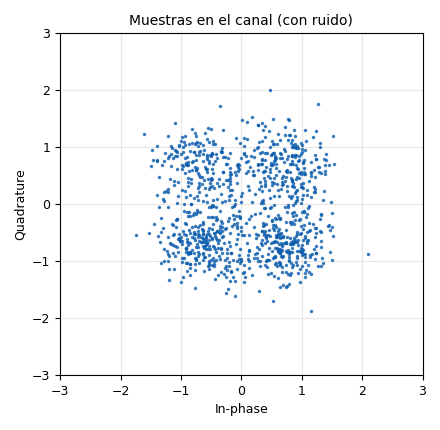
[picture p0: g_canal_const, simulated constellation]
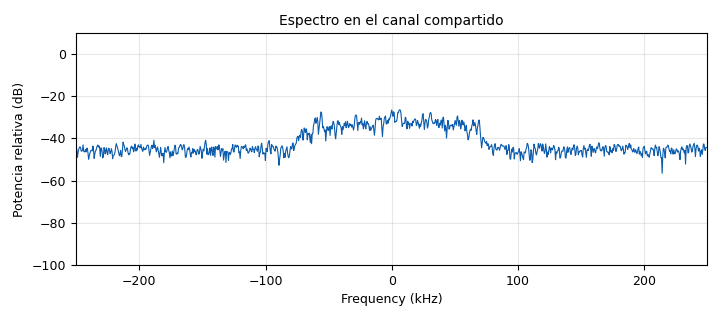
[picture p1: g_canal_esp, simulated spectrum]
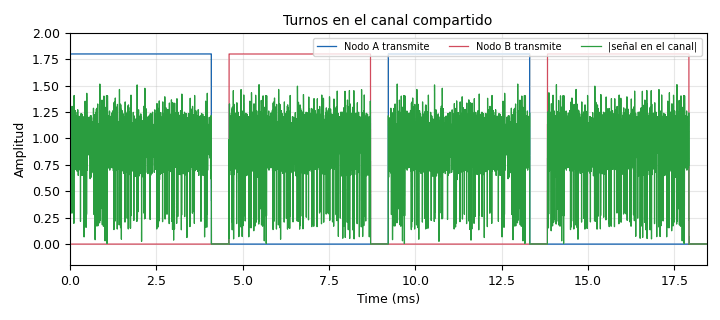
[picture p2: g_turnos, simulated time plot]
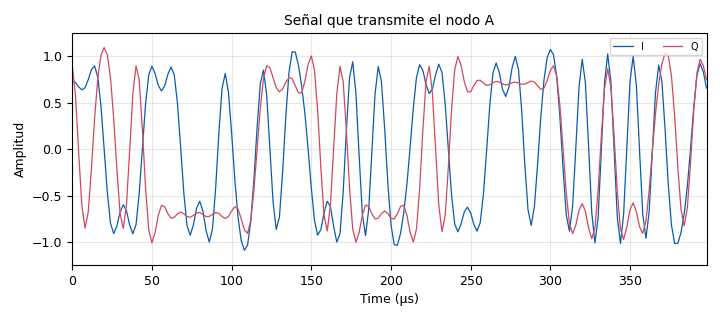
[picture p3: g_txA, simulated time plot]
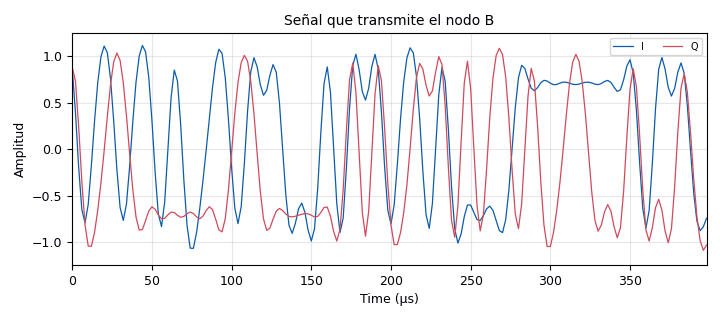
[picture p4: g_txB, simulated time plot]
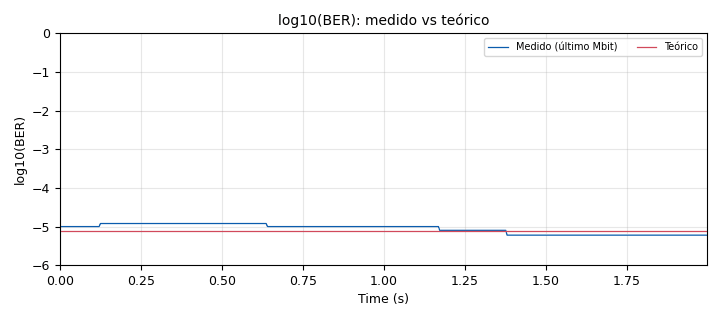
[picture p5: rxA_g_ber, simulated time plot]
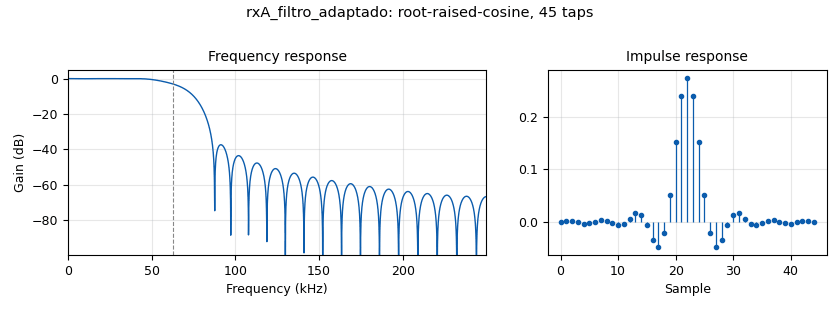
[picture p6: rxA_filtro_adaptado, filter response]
options:
  parameters:
    author: Juan Gerez
    description: Dos nodos que se turnan un canal compartido (TDD) con tramas (preámbulo + longitud + CRC-32), 4-QAM diferencial y medición de BER; solo bloques estándar de GNU Radio
    generate_options: qt_gui
    id: halfduplex_4qam
    output_language: python
    title: Enlace half-duplex 4-QAM (TDD) con tramas y BER (bloques estándar)
  states: {}

blocks:
- name: L_A
  id: variable
  parameters:
    comment: Bytes de payload del nodo A
    value: len(payload_A)
  states: {}
- name: L_B
  id: variable
  parameters:
    comment: Bytes de payload del nodo B
    value: len(payload_B)
  states: {}
- name: ber_A_log
  id: variable_function_probe
  parameters:
    block_id: rxA_sonda_ber
    function_name: level
    poll_rate: '4'
    value: '0'
  states: {}
- name: ber_B_log
  id: variable_function_probe
  parameters:
    block_id: rxB_sonda_ber
    function_name: level
    poll_rate: '4'
    value: '0'
  states: {}
- name: ber_teo
  id: variable
  parameters:
    comment: '4-QAM con codificación diferencial: 2p(1-p)'
    value: 2 * p_qpsk * (1 - p_qpsk)
  states: {}
- name: cfo_hz
  id: variable_qtgui_range
  parameters:
    gui_hint: 0,4,1,2
    label: Desvío entre osciladores A-B [Hz]
    min_len: '150'
    start: '-1000'
    step: '10'
    stop: '1000'
    value: '0'
  states: {}
- name: costas_bw
  id: variable_qtgui_range
  parameters:
    gui_hint: 1,0,1,1
    label: BW lazo de Costas
    min_len: '100'
    start: '0.001'
    step: '0.001'
    stop: '0.1'
    value: '0.005'
    widget: counter
  states: {}
- name: ebn0_db
  id: variable_qtgui_range
  parameters:
    gui_hint: 0,0,1,2
    label: Eb/N0 [dB]
    min_len: '150'
    start: '0'
    step: '0.5'
    stop: '15'
    value: '10'
  states: {}
- name: excess_bw
  id: variable
  parameters:
    comment: Factor de roll-off del filtro RRC
    value: '0.35'
  states: {}
- name: fase_deg
  id: variable_qtgui_range
  parameters:
    gui_hint: 0,2,1,2
    label: Fase del canal [°]
    min_len: '150'
    start: '-180'
    step: '1'
    stop: '180'
    value: '0'
  states: {}
- name: formato_trama
  id: variable_header_format_default
  parameters:
    access_code: '0'
    bps: '1'
    threshold: '0'
  states: {}
- name: guarda
  id: variable
  parameters:
    comment: Muestras de silencio entre turnos (nadie transmite)
    value: '256'
  states: {}
- name: lbl_A
  id: variable_qtgui_label
  parameters:
    formatter: 'lambda x: ''%.2e'' % x'
    gui_hint: 1,3,1,1
    label: 'BER nodo A (acum.): '
    type: real
    value: 10**ber_A_log
  states: {}
- name: lbl_B
  id: variable_qtgui_label
  parameters:
    formatter: 'lambda x: ''%.2e'' % x'
    gui_hint: 1,4,1,1
    label: 'BER nodo B (acum.): '
    type: real
    value: 10**ber_B_log
  states: {}
- name: lbl_ratio
  id: variable_qtgui_label
  parameters:
    formatter: 'lambda x: ''%.2f | %.2f'' % x'
    gui_hint: 1,5,1,1
    label: 'Medido / teórico (A | B): '
    type: raw
    value: (10**ber_A_log / ber_teo, 10**ber_B_log / ber_teo)
  states: {}
- name: lbl_teo
  id: variable_qtgui_label
  parameters:
    formatter: 'lambda x: ''%.2e'' % x'
    gui_hint: 1,2,1,1
    label: 'BER teórico: '
    type: real
    value: ber_teo
  states: {}
- name: mensaje_A
  id: variable
  parameters:
    comment: Texto que transmite el nodo A
    value: '"Hola, soy el nodo A. Este mensaje viaja por el canal compartido en mi ranura de tiempo (TDD)."'
  states: {}
- name: mensaje_B
  id: variable
  parameters:
    comment: Texto que transmite el nodo B
    value: '"Hola, soy el nodo B. Respondo en la otra ranura: nunca transmitimos los dos al mismo tiempo!!"'
  states: {}
- name: p_qpsk
  id: variable
  parameters:
    comment: 'Q(raiz(2 Eb/N0)): 4-QAM coherente'
    value: 0.5 * math.erfc(math.sqrt(10**(ebn0_db / 10)))
  states: {}
- name: payload_A
  id: variable
  parameters:
    value: list(mensaje_A.encode())
  states: {}
- name: payload_B
  id: variable
  parameters:
    value: list(mensaje_B.encode())
  states: {}
- name: qpsk
  id: variable_constellation_rect
  parameters:
    const_points: '[-0.707-0.707j, 0.707-0.707j, +0.707+0.707j, -0.707+0.707j]'
    imag_sect: '2'
    real_sect: '2'
    rot_sym: '4'
    sym_map: '[0, 1, 3, 2]'
    w_imag_sect: '1'
    w_real_sect: '1'
  states: {}
- name: ranura
  id: variable
  parameters:
    comment: Muestras de cada turno de transmisión (múltiplo de sps)
    value: '2048'
  states: {}
- name: ruido
  id: variable
  parameters:
    comment: 'Desvío del ruido complejo: potencia de señal = 1 por muestra, Es/N0 = 2 Eb/N0'
    value: math.sqrt(sps / (2 * 10**(ebn0_db / 10)))
  states: {}
- name: samp_rate
  id: variable
  parameters:
    comment: Frecuencia de muestreo [muestras/s]
    value: '500000'
  states: {}
- name: sps
  id: variable
  parameters:
    comment: Muestras por símbolo
    value: '4'
  states: {}
- name: sync_bw
  id: variable_qtgui_range
  parameters:
    gui_hint: 1,1,1,1
    label: BW sinc. de símbolo
    min_len: '100'
    start: '0.001'
    step: '0.001'
    stop: '0.1'
    value: '0.01'
    widget: counter
  states: {}
- name: umbral
  id: variable
  parameters:
    comment: Bits erróneos tolerados al buscar el preámbulo de 64 bits
    value: '12'
  states: {}
- name: ventana
  id: variable
  parameters:
    comment: Bits de la ventana del BER 'reciente'
    value: '1000000'
  states: {}
- name: acelerador
  id: blocks_throttle2
  parameters:
    samples_per_second: samp_rate
    type: complex
  states: {}
- name: canal_tx_A
  id: virtual_source
  parameters:
    stream_id: tx_A
  states: {}
- name: canal_tx_B
  id: virtual_source
  parameters:
    stream_id: tx_B
  states: {}
- name: conmutador_rx
  id: blocks_stream_demux
  parameters:
    lengths: '[ranura, guarda, ranura, guarda]'
    num_outputs: '4'
    type: complex
  states: {}
- name: fase
  id: blocks_multiply_const_vxx
  parameters:
    const: cmath.exp(1j * math.radians(fase_deg))
    type: complex
  states: {}
- name: g_canal_const
  id: qtgui_const_sink_x
  parameters:
    alpha1: '0.6'
    grid: 'True'
    gui_hint: 'pestanas@0: 1,2,1,1'
    label1: Canal
    legend: 'False'
    name: '"Muestras en el canal (con ruido)"'
    size: '1024'
    type: complex
    xmax: '3'
    xmin: '-3'
    ymax: '3'
    ymin: '-3'
  states: {}
- name: g_canal_esp
  id: qtgui_freq_sink_x
  parameters:
    average: '0.2'
    bw: samp_rate
    fc: '0'
    fftsize: '1024'
    grid: 'True'
    gui_hint: 'pestanas@0: 0,2,1,1'
    label: '"Potencia relativa"'
    label1: Canal
    legend: 'False'
    name: '"Espectro en el canal compartido"'
    type: complex
    ymin: '-100'
  states: {}
- name: g_turnos
  id: qtgui_time_sink_x
  parameters:
    entags: 'False'
    grid: 'True'
    gui_hint: 'pestanas@0: 0,0,1,2'
    label1: Nodo A transmite
    label2: Nodo B transmite
    label3: '|señal en el canal|'
    name: '"Turnos en el canal compartido"'
    nconnections: '3'
    size: 4 * (ranura + guarda)
    srate: samp_rate
    tr_level: '0.9'
    tr_mode: qtgui.TRIG_MODE_NORM
    type: float
    ylabel: Amplitud
    ymax: '2.0'
    ymin: '-0.2'
  states: {}
- name: g_txA
  id: qtgui_time_sink_x
  parameters:
    grid: 'True'
    gui_hint: 'pestanas@0: 1,0,1,1'
    label1: I
    label2: Q
    name: '"Señal que transmite el nodo A"'
    size: '200'
    srate: samp_rate
    type: complex
    ylabel: Amplitud
    ymax: '1.25'
    ymin: '-1.25'
  states: {}
- name: g_txA_src
  id: virtual_source
  parameters:
    stream_id: tx_A
  states: {}
- name: g_txB
  id: qtgui_time_sink_x
  parameters:
    grid: 'True'
    gui_hint: 'pestanas@0: 1,1,1,1'
    label1: I
    label2: Q
    name: '"Señal que transmite el nodo B"'
    size: '200'
    srate: samp_rate
    type: complex
    ylabel: Amplitud
    ymax: '1.25'
    ymin: '-1.25'
  states: {}
- name: g_txB_src
  id: virtual_source
  parameters:
    stream_id: tx_B
  states: {}
- name: guarda_1
  id: blocks_null_sink
  parameters:
    type: complex
  states: {}
- name: guarda_3
  id: blocks_null_sink
  parameters:
    type: complex
  states: {}
- name: imports
  id: import
  parameters:
    imports: import math, cmath
  states: {}
- name: modulo_canal
  id: blocks_complex_to_mag
  parameters: {}
  states: {}
- name: nota_osc
  id: note
  parameters:
    note: 'El desvío de frecuencia (CFO) es la diferencia entre los osciladores de A y B: cada receptor lo ve con signo opuesto (B: +CFO, A: -CFO).'
  states: {}
- name: nota_tdd
  id: note
  parameters:
    note: 'CANAL COMPARTIDO (half-duplex por TDD): Stream Mux arma los turnos [A | guarda | B | guarda]; mientras un nodo no tiene el turno, su transmisor espera. Stream Demux es el conmutador de recepción: las ranuras de A van al receptor de B y las de B al receptor de A (nadie se escucha a sí mismo).'
  states: {}
- name: nota_tx
  id: note
  parameters:
    note: 'TRANSMISORES: cada nodo arma sus tramas (mensaje -> CRC-32 -> preámbulo 64 b + longitud x2) y las modula en 4-QAM diferencial con filtro RRC'
  states: {}
- name: osc_rxA
  id: blocks_rotator_cc
  parameters:
    phase_inc: '-2 * math.pi * cfo_hz / samp_rate'
  states: {}
- name: osc_rxB
  id: blocks_rotator_cc
  parameters:
    phase_inc: 2 * math.pi * cfo_hz / samp_rate
  states: {}
- name: pestanas
  id: qtgui_tab_widget
  parameters:
    gui_hint: 2,0,1,6
    label0: 1. Canal compartido (TDD)
    label1: 2. Nodo A recibe (lo que transmite B)
    label2: 3. Nodo B recibe (lo que transmite A)
    num_tabs: '3'
  states: {}
- name: ruido_awgn
  id: analog_noise_source_x
  parameters:
    amp: ruido
    noise_type: analog.GR_GAUSSIAN
    seed: '0'
    type: complex
  states: {}
- name: rxA_a_bits
  id: blocks_unpack_k_bits_bb
  parameters:
    k: '2'
  states: {}
- name: rxA_a_bytes
  id: blocks_repack_bits_bb
  parameters:
    align_output: 'True'
    endianness: gr.GR_MSB_FIRST
    k: '1'
    l: '8'
    len_tag_key: '"packet_len"'
    minoutbuf: '70000'
  states: {}
- name: rxA_alinear
  id: blocks_tagged_stream_align
  parameters:
    comment: |-
      Descarta lo anterior a la primera trama detectada. 
      Como todas las tramas son iguales, no importa cuál 
      sea la primera que detecte: siempre queda alineada 
      con la referencia.
    lengthtagname: '"inicio_trama"'
    type: byte
  states: {}
- name: rxA_archivo
  id: blocks_file_sink
  parameters:
    file: '"mensajes_recibidos_A.txt"'
    type: byte
    unbuffered: 'True'
  states: {}
- name: rxA_ber_ventana
  id: blocks_moving_average_xx
  parameters:
    comment: Calcula el BER “reciente”.
    length: ventana
    max_iter: '4000'
    scale: 1.0/ventana
    type: float
  states: {}
- name: rxA_cfo_esperado
  id: analog_sig_source_x
  parameters:
    amp: '-cfo_hz'
    freq: '0'
    offset: '0'
    phase: '0'
    samp_rate: samp_rate/sps
    type: float
    waveform: analog.GR_CONST_WAVE
  states: {}
- name: rxA_comparar
  id: blocks_xor_xx
  parameters:
    type: byte
  states: {}
- name: rxA_costas
  id: digital_costas_loop_cc
  parameters:
    order: '4'
    w: costas_bw
  states: {}
- name: rxA_crc
  id: digital_crc32_bb
  parameters:
    check: 'True'
    lengthtagname: '"packet_len"'
    minoutbuf: '70000'
    packed: 'True'
  states: {}
- name: rxA_dec_diferencial
  id: digital_diff_decoder_bb
  parameters:
    coding: digital.DIFF_DIFFERENTIAL
    modulus: '4'
  states: {}
- name: rxA_decisor
  id: digital_constellation_decoder_cb
  parameters:
    constellation: qpsk
  states: {}
- name: rxA_detector_trama
  id: digital_correlate_access_code_xx_ts
  parameters:
    access_code: digital.packet_utils.default_access_code
    minoutbuf: '600000'
    tagname: '"packet_len"'
    threshold: umbral
    type: byte
  states: {}
- name: rxA_entrada
  id: virtual_source
  parameters:
    stream_id: entrada_rx_A
  states: {}
- name: rxA_errores
  id: blocks_char_to_float
  parameters:
    scale: '1'
  states: {}
- name: rxA_filtro_adaptado
  id: filter_fft_rrc_filter
  parameters:
    alpha: excess_bw
    decim: '1'
    gain: '1'
    ntaps: 11*sps
    samp_rate: samp_rate
    sym_rate: samp_rate/sps
    type: ccc
  states: {}
- name: rxA_frec_hz
  id: blocks_multiply_const_vxx
  parameters:
    const: samp_rate / sps / (2 * math.pi)
    type: float
  states: {}
- name: rxA_g_ber
  id: qtgui_time_sink_x
  parameters:
    entags: 'False'
    grid: 'True'
    gui_hint: 'pestanas@1: 1,2,1,1'
    label1: Medido (último Mbit)
    label2: Teórico
    name: '"log10(BER): medido vs teórico"'
    nconnections: '2'
    size: '500'
    srate: samp_rate/sps*2/1000
    type: float
    ylabel: log10(BER)
    ymax: '0'
    ymin: '-6'
  states: {}
- name: rxA_g_bits
  id: qtgui_time_sink_x
  parameters:
    entags: 'False'
    grid: 'True'
    gui_hint: 'pestanas@1: 1,0,1,1'
    label1: RX
    label2: TX (+1,5)
    label3: Errores
    name: '"Bits RX vs TX (+1,5) y errores"'
    nconnections: '3'
    size: '200'
    srate: samp_rate/sps*2
    type: float
    ylabel: Bit
    ymax: '4'
  states: {}
- name: rxA_g_const
  id: qtgui_const_sink_x
  parameters:
    alpha1: '0.6'
    alpha2: '0.6'
    grid: 'True'
    gui_hint: 'pestanas@1: 0,1,1,1'
    label1: Antes
    label2: Después
    name: '"Constelación antes y después de Costas"'
    nconnections: '2'
    size: '1024'
    type: complex
    xmax: '1.5'
    xmin: '-1.5'
    ymax: '1.5'
    ymin: '-1.5'
  states: {}
- name: rxA_g_frec
  id: qtgui_time_sink_x
  parameters:
    entags: 'False'
    grid: 'True'
    gui_hint: 'pestanas@1: 0,2,1,1'
    label1: Costas
    label2: CFO (-Δf)
    name: '"Frecuencia de Costas vs CFO [Hz]"'
    nconnections: '2'
    size: '2000'
    srate: samp_rate/sps
    type: float
    ylabel: Hz
    ymax: '1100'
    ymin: '-1100'
  states: {}
- name: rxA_g_ojo
  id: qtgui_eye_sink_x
  parameters:
    alpha1: '0.5'
    entags: 'False'
    grid: 'True'
    gui_hint: 'pestanas@1: 0,0,1,1'
    label1: Ojo de la componente I (antes de Costas)
    samp_per_symbol: 4*sps
    size: '2048'
    srate: 4*samp_rate
    type: float
    ylabel: '"Amplitud"'
    ymax: '1.5'
    ymin: '-1.5'
  states: {}
- name: rxA_g_payload
  id: qtgui_time_sink_x
  parameters:
    grid: 'True'
    gui_hint: 'pestanas@1: 1,1,1,1'
    label1: Payload + CRC
    legend: 'False'
    name: '"Payload del detector de tramas"'
    size: 2 * 8 * (L_B + 4)
    srate: samp_rate/sps*2
    type: float
    ylabel: Bit
    ymax: '1.5'
    ymin: '-0.5'
  states: {}
- name: rxA_log_ber
  id: blocks_nlog10_ff
  parameters:
    k: '0'
  states: {}
- name: rxA_log_teo
  id: analog_sig_source_x
  parameters:
    amp: math.log10(ber_teo)
    comment: Es la línea teórica del gráfico
    freq: '0'
    offset: '0'
    phase: '0'
    samp_rate: samp_rate/sps*2/1000
    type: float
    waveform: analog.GR_CONST_WAVE
  states: {}
- name: rxA_mapa_gray
  id: digital_map_bb
  parameters:
    map: '[0, 1, 3, 2]'
  states: {}
- name: rxA_marca_preambulo
  id: digital_correlate_access_code_tag_xx
  parameters:
    access_code: digital.packet_utils.default_access_code
    comment: Solo marca dónde termina cada preámbulo; no recorta nada.
    tagname: '"inicio_trama"'
    threshold: umbral
    type: byte
  states: {}
- name: rxA_medidor_ber
  id: fec_ber_bf
  parameters:
    comment: |-
      Cuenta todos los errores desde que arrancó la simulación. 
      Como test_mode está desactivado, los parámetros 
      berminerrors y berlimit no se usan.
    test_mode: 'False'
  states: {}
- name: rxA_nota
  id: note
  parameters:
    note: 'RECEPTOR DEL NODO A (recibe lo que transmite B): filtro adaptado -> sincronismo de símbolo -> Costas -> decisión -> decodificación diferencial -> tramas (CRC-32) y BER'
  states: {}
- name: rxA_ojo_interp
  id: rational_resampler_xxx
  parameters:
    decim: '1'
    interp: '4'
    type: ccc
  states: {}
- name: rxA_ojo_re
  id: blocks_complex_to_real
  parameters: {}
  states: {}
- name: rxA_payload_f
  id: blocks_char_to_float
  parameters:
    scale: '1'
  states: {}
- name: rxA_ref_a_paquetes
  id: blocks_stream_to_tagged_stream
  parameters:
    len_tag_key: '"packet_len"'
    packet_len: L_B
    type: byte
  states: {}
- name: rxA_ref_bit_f
  id: blocks_char_to_float
  parameters:
    scale: '1'
  states: {}
- name: rxA_ref_bits
  id: blocks_unpack_k_bits_bb
  parameters:
    comment: Pasa la trama a bits.
    k: '8'
  states: {}
- name: rxA_ref_bytes
  id: blocks_repack_bits_bb
  parameters:
    endianness: gr.GR_MSB_FIRST
    k: '1'
    l: '8'
  states: {}
- name: rxA_ref_crc
  id: digital_crc32_bb
  parameters:
    check: 'False'
    lengthtagname: '"packet_len"'
    packed: 'True'
  states: {}
- name: rxA_ref_desplazar
  id: blocks_add_const_vxx
  parameters:
    const: '1.5'
    type: float
  states: {}
- name: rxA_ref_encabezado
  id: digital_protocol_formatter_bb
  parameters:
    format: formato_trama
    len_tag_key: '"packet_len"'
  states: {}
- name: rxA_ref_fuente
  id: blocks_vector_source_x
  parameters:
    repeat: 'True'
    type: byte
    vector: payload_B
  states: {}
- name: rxA_ref_saltar_preambulo
  id: blocks_skiphead
  parameters:
    comment: |-
      Descarta el primer preámbulo una sola vez. 
      Así la referencia arranca en el encabezado, en 
      el mismo punto donde el receptor pone su marca
    num_items: '64'
    type: byte
  states: {}
- name: rxA_ref_trama
  id: blocks_tagged_stream_mux
  parameters:
    lengthtagname: '"packet_len"'
    ninputs: '2'
    type: byte
  states: {}
- name: rxA_rx_bit_f
  id: blocks_char_to_float
  parameters:
    scale: '1'
  states: {}
- name: rxA_rx_bytes
  id: blocks_repack_bits_bb
  parameters:
    endianness: gr.GR_MSB_FIRST
    k: '1'
    l: '8'
  states: {}
- name: rxA_sinc_null_1
  id: blocks_null_sink
  parameters:
    type: float
  states: {}
- name: rxA_sinc_null_2
  id: blocks_null_sink
  parameters:
    type: float
  states: {}
- name: rxA_sinc_null_3
  id: blocks_null_sink
  parameters:
    type: float
  states: {}
- name: rxA_sinc_simbolo
  id: digital_symbol_sync_xx
  parameters:
    damping: '1.0'
    loop_bw: sync_bw
    max_dev: '1.5'
    osps: '1'
    resamp_type: digital.IR_MMSE_8TAP
    sps: sps
    ted_gain: '1.0'
    ted_type: digital.TED_SIGNAL_TIMES_SLOPE_ML
    type: cc
  states: {}
- name: rxA_sonda_ber
  id: blocks_probe_signal_x
  parameters:
    comment: |-
      Guarda el último valor. La variable ber_A_log lo 
      lee 4 veces por segundo para mostrarlo en las etiquetas.
    type: float
  states: {}
- name: rxA_submuestreo
  id: blocks_keep_one_in_n
  parameters:
    comment: |-
      Alivia el gráfico. El BER cambia lento, así 
      que no se pierde información.
    n: '1000'
    type: float
  states: {}
- name: rxA_una_de_cien
  id: blocks_keep_m_in_n
  parameters:
    comment: Deja pasar 1 de cada 100 mensajes para que el archivo no crezca sin control.
    m: L_B
    n: 100*L_B
    offset: '0'
    type: byte
  states: {}
- name: rxA_vs_entrada
  id: virtual_sink
  parameters:
    stream_id: entrada_rx_A
  states: {}
- name: rxB_a_bits
  id: blocks_unpack_k_bits_bb
  parameters:
    k: '2'
  states: {}
- name: rxB_a_bytes
  id: blocks_repack_bits_bb
  parameters:
    align_output: 'True'
    endianness: gr.GR_MSB_FIRST
    k: '1'
    l: '8'
    len_tag_key: '"packet_len"'
    minoutbuf: '70000'
  states: {}
- name: rxB_alinear
  id: blocks_tagged_stream_align
  parameters:
    lengthtagname: '"inicio_trama"'
    type: byte
  states: {}
- name: rxB_archivo
  id: blocks_file_sink
  parameters:
    file: '"mensajes_recibidos_B.txt"'
    type: byte
    unbuffered: 'True'
  states: {}
- name: rxB_ber_ventana
  id: blocks_moving_average_xx
  parameters:
    length: ventana
    max_iter: '4000'
    scale: 1.0/ventana
    type: float
  states: {}
- name: rxB_cfo_esperado
  id: analog_sig_source_x
  parameters:
    amp: cfo_hz
    freq: '0'
    offset: '0'
    phase: '0'
    samp_rate: samp_rate/sps
    type: float
    waveform: analog.GR_CONST_WAVE
  states: {}
- name: rxB_comparar
  id: blocks_xor_xx
  parameters:
    type: byte
  states: {}
- name: rxB_costas
  id: digital_costas_loop_cc
  parameters:
    order: '4'
    w: costas_bw
  states: {}
- name: rxB_crc
  id: digital_crc32_bb
  parameters:
    check: 'True'
    lengthtagname: '"packet_len"'
    minoutbuf: '70000'
    packed: 'True'
  states: {}
- name: rxB_dec_diferencial
  id: digital_diff_decoder_bb
  parameters:
    coding: digital.DIFF_DIFFERENTIAL
    modulus: '4'
  states: {}
- name: rxB_decisor
  id: digital_constellation_decoder_cb
  parameters:
    constellation: qpsk
  states: {}
- name: rxB_detector_trama
  id: digital_correlate_access_code_xx_ts
  parameters:
    access_code: digital.packet_utils.default_access_code
    minoutbuf: '600000'
    tagname: '"packet_len"'
    threshold: umbral
    type: byte
  states: {}
- name: rxB_entrada
  id: virtual_source
  parameters:
    stream_id: entrada_rx_B
  states: {}
- name: rxB_errores
  id: blocks_char_to_float
  parameters:
    scale: '1'
  states: {}
- name: rxB_filtro_adaptado
  id: filter_fft_rrc_filter
  parameters:
    alpha: excess_bw
    decim: '1'
    gain: '1'
    ntaps: 11*sps
    samp_rate: samp_rate
    sym_rate: samp_rate/sps
    type: ccc
  states: {}
- name: rxB_frec_hz
  id: blocks_multiply_const_vxx
  parameters:
    const: samp_rate / sps / (2 * math.pi)
    type: float
  states: {}
- name: rxB_g_ber
  id: qtgui_time_sink_x
  parameters:
    entags: 'False'
    grid: 'True'
    gui_hint: 'pestanas@2: 1,2,1,1'
    label1: Medido (último Mbit)
    label2: Teórico
    name: '"log10(BER): medido vs teórico"'
    nconnections: '2'
    size: '500'
    srate: samp_rate/sps*2/1000
    type: float
    ylabel: log10(BER)
    ymax: '0'
    ymin: '-6'
  states: {}
- name: rxB_g_bits
  id: qtgui_time_sink_x
  parameters:
    entags: 'False'
    grid: 'True'
    gui_hint: 'pestanas@2: 1,0,1,1'
    label1: RX
    label2: TX (+1,5)
    label3: Errores
    name: '"Bits RX vs TX (+1,5) y errores"'
    nconnections: '3'
    size: '200'
    srate: samp_rate/sps*2
    type: float
    ylabel: Bit
    ymax: '4'
  states: {}
- name: rxB_g_const
  id: qtgui_const_sink_x
  parameters:
    alpha1: '0.6'
    alpha2: '0.6'
    grid: 'True'
    gui_hint: 'pestanas@2: 0,1,1,1'
    label1: Antes
    label2: Después
    name: '"Constelación antes y después de Costas"'
    nconnections: '2'
    size: '1024'
    type: complex
    xmax: '1.5'
    xmin: '-1.5'
    ymax: '1.5'
    ymin: '-1.5'
  states: {}
- name: rxB_g_frec
  id: qtgui_time_sink_x
  parameters:
    entags: 'False'
    grid: 'True'
    gui_hint: 'pestanas@2: 0,2,1,1'
    label1: Costas
    label2: CFO (+Δf)
    name: '"Frecuencia de Costas vs CFO [Hz]"'
    nconnections: '2'
    size: '2000'
    srate: samp_rate/sps
    type: float
    ylabel: Hz
    ymax: '1100'
    ymin: '-1100'
  states: {}
- name: rxB_g_ojo
  id: qtgui_eye_sink_x
  parameters:
    alpha1: '0.5'
    entags: 'False'
    grid: 'True'
    gui_hint: 'pestanas@2: 0,0,1,1'
    label1: Ojo de la componente I (antes de Costas)
    samp_per_symbol: 4*sps
    size: '2048'
    srate: 4*samp_rate
    type: float
    ylabel: '"Amplitud"'
    ymax: '1.5'
    ymin: '-1.5'
  states: {}
- name: rxB_g_payload
  id: qtgui_time_sink_x
  parameters:
    grid: 'True'
    gui_hint: 'pestanas@2: 1,1,1,1'
    label1: Payload + CRC
    legend: 'False'
    name: '"Payload del detector de tramas"'
    size: 2 * 8 * (L_A + 4)
    srate: samp_rate/sps*2
    type: float
    ylabel: Bit
    ymax: '1.5'
    ymin: '-0.5'
  states: {}
- name: rxB_log_ber
  id: blocks_nlog10_ff
  parameters:
    k: '0'
  states: {}
- name: rxB_log_teo
  id: analog_sig_source_x
  parameters:
    amp: math.log10(ber_teo)
    freq: '0'
    offset: '0'
    phase: '0'
    samp_rate: samp_rate/sps*2/1000
    type: float
    waveform: analog.GR_CONST_WAVE
  states: {}
- name: rxB_mapa_gray
  id: digital_map_bb
  parameters:
    map: '[0, 1, 3, 2]'
  states: {}
- name: rxB_marca_preambulo
  id: digital_correlate_access_code_tag_xx
  parameters:
    access_code: digital.packet_utils.default_access_code
    tagname: '"inicio_trama"'
    threshold: umbral
    type: byte
  states: {}
- name: rxB_medidor_ber
  id: fec_ber_bf
  parameters:
    test_mode: 'False'
  states: {}
- name: rxB_nota
  id: note
  parameters:
    note: 'RECEPTOR DEL NODO B (recibe lo que transmite A): filtro adaptado -> sincronismo de símbolo -> Costas -> decisión -> decodificación diferencial -> tramas (CRC-32) y BER'
  states: {}
- name: rxB_ojo_interp
  id: rational_resampler_xxx
  parameters:
    decim: '1'
    interp: '4'
    type: ccc
  states: {}
- name: rxB_ojo_re
  id: blocks_complex_to_real
  parameters: {}
  states: {}
- name: rxB_payload_f
  id: blocks_char_to_float
  parameters:
    scale: '1'
  states: {}
- name: rxB_ref_a_paquetes
  id: blocks_stream_to_tagged_stream
  parameters:
    len_tag_key: '"packet_len"'
    packet_len: L_A
    type: byte
  states: {}
- name: rxB_ref_bit_f
  id: blocks_char_to_float
  parameters:
    scale: '1'
  states: {}
- name: rxB_ref_bits
  id: blocks_unpack_k_bits_bb
  parameters:
    k: '8'
  states: {}
- name: rxB_ref_bytes
  id: blocks_repack_bits_bb
  parameters:
    endianness: gr.GR_MSB_FIRST
    k: '1'
    l: '8'
  states: {}
- name: rxB_ref_crc
  id: digital_crc32_bb
  parameters:
    check: 'False'
    lengthtagname: '"packet_len"'
    packed: 'True'
  states: {}
- name: rxB_ref_desplazar
  id: blocks_add_const_vxx
  parameters:
    const: '1.5'
    type: float
  states: {}
- name: rxB_ref_encabezado
  id: digital_protocol_formatter_bb
  parameters:
    format: formato_trama
    len_tag_key: '"packet_len"'
  states: {}
- name: rxB_ref_fuente
  id: blocks_vector_source_x
  parameters:
    repeat: 'True'
    type: byte
    vector: payload_A
  states: {}
- name: rxB_ref_saltar_preambulo
  id: blocks_skiphead
  parameters:
    num_items: '64'
    type: byte
  states: {}
- name: rxB_ref_trama
  id: blocks_tagged_stream_mux
  parameters:
    lengthtagname: '"packet_len"'
    ninputs: '2'
    type: byte
  states: {}
- name: rxB_rx_bit_f
  id: blocks_char_to_float
  parameters:
    scale: '1'
  states: {}
- name: rxB_rx_bytes
  id: blocks_repack_bits_bb
  parameters:
    endianness: gr.GR_MSB_FIRST
    k: '1'
    l: '8'
  states: {}
- name: rxB_sinc_null_1
  id: blocks_null_sink
  parameters:
    type: float
  states: {}
- name: rxB_sinc_null_2
  id: blocks_null_sink
  parameters:
    type: float
  states: {}
- name: rxB_sinc_null_3
  id: blocks_null_sink
  parameters:
    type: float
  states: {}
- name: rxB_sinc_simbolo
  id: digital_symbol_sync_xx
  parameters:
    damping: '1.0'
    loop_bw: sync_bw
    max_dev: '1.5'
    osps: '1'
    resamp_type: digital.IR_MMSE_8TAP
    sps: sps
    ted_gain: '1.0'
    ted_type: digital.TED_SIGNAL_TIMES_SLOPE_ML
    type: cc
  states: {}
- name: rxB_sonda_ber
  id: blocks_probe_signal_x
  parameters:
    type: float
  states: {}
- name: rxB_submuestreo
  id: blocks_keep_one_in_n
  parameters:
    n: '1000'
    type: float
  states: {}
- name: rxB_una_de_cien
  id: blocks_keep_m_in_n
  parameters:
    m: L_A
    n: 100*L_A
    offset: '0'
    type: byte
  states: {}
- name: rxB_vs_entrada
  id: virtual_sink
  parameters:
    stream_id: entrada_rx_B
  states: {}
- name: silencio_1
  id: blocks_null_source
  parameters:
    type: complex
  states: {}
- name: silencio_3
  id: blocks_null_source
  parameters:
    type: complex
  states: {}
- name: suma_ruido
  id: blocks_add_xx
  parameters:
    type: complex
  states: {}
- name: turno_A
  id: blocks_vector_source_x
  parameters:
    repeat: 'True'
    type: float
    vector: '[1.8] * ranura + [0.0] * (guarda + ranura + guarda)'
  states: {}
- name: turno_B
  id: blocks_vector_source_x
  parameters:
    repeat: 'True'
    type: float
    vector: '[0.0] * (ranura + guarda) + [1.8] * ranura + [0.0] * guarda'
  states: {}
- name: turnos
  id: blocks_stream_mux
  parameters:
    lengths: '[ranura, guarda, ranura, guarda]'
    num_inputs: '4'
    type: complex
  states: {}
- name: txA_a_paquetes
  id: blocks_stream_to_tagged_stream
  parameters:
    len_tag_key: '"packet_len"'
    packet_len: L_A
    type: byte
  states: {}
- name: txA_crc
  id: digital_crc32_bb
  parameters:
    check: 'False'
    lengthtagname: '"packet_len"'
    packed: 'True'
  states: {}
- name: txA_encabezado
  id: digital_protocol_formatter_bb
  parameters:
    format: formato_trama
    len_tag_key: '"packet_len"'
  states: {}
- name: txA_fuente
  id: blocks_vector_source_x
  parameters:
    repeat: 'True'
    type: byte
    vector: payload_A
  states: {}
- name: txA_modulador
  id: digital_constellation_modulator
  parameters:
    constellation: qpsk
    differential: 'True'
    excess_bw: excess_bw
    samples_per_symbol: sps
  states: {}
- name: txA_trama
  id: blocks_tagged_stream_mux
  parameters:
    lengthtagname: '"packet_len"'
    ninputs: '2'
    type: byte
  states: {}
- name: txA_vs
  id: virtual_sink
  parameters:
    stream_id: tx_A
  states: {}
- name: txB_a_paquetes
  id: blocks_stream_to_tagged_stream
  parameters:
    len_tag_key: '"packet_len"'
    packet_len: L_B
    type: byte
  states: {}
- name: txB_crc
  id: digital_crc32_bb
  parameters:
    check: 'False'
    lengthtagname: '"packet_len"'
    packed: 'True'
  states: {}
- name: txB_encabezado
  id: digital_protocol_formatter_bb
  parameters:
    format: formato_trama
    len_tag_key: '"packet_len"'
  states: {}
- name: txB_fuente
  id: blocks_vector_source_x
  parameters:
    repeat: 'True'
    type: byte
    vector: payload_B
  states: {}
- name: txB_modulador
  id: digital_constellation_modulator
  parameters:
    constellation: qpsk
    differential: 'True'
    excess_bw: excess_bw
    samples_per_symbol: sps
  states: {}
- name: txB_trama
  id: blocks_tagged_stream_mux
  parameters:
    lengthtagname: '"packet_len"'
    ninputs: '2'
    type: byte
  states: {}
- name: txB_vs
  id: virtual_sink
  parameters:
    stream_id: tx_B
  states: {}

connections:
- [acelerador, '0', fase, '0']
- [acelerador, '0', modulo_canal, '0']
- [canal_tx_A, '0', turnos, '0']
- [canal_tx_B, '0', turnos, '2']
- [conmutador_rx, '0', osc_rxB, '0']
- [conmutador_rx, '1', guarda_1, '0']
- [conmutador_rx, '2', osc_rxA, '0']
- [conmutador_rx, '3', guarda_3, '0']
- [fase, '0', suma_ruido, '0']
- [g_txA_src, '0', g_txA, '0']
- [g_txB_src, '0', g_txB, '0']
- [modulo_canal, '0', g_turnos, '2']
- [osc_rxA, '0', rxA_vs_entrada, '0']
- [osc_rxB, '0', rxB_vs_entrada, '0']
- [ruido_awgn, '0', suma_ruido, '1']
- [rxA_a_bits, '0', rxA_detector_trama, '0']
- [rxA_a_bits, '0', rxA_marca_preambulo, '0']
- [rxA_a_bytes, '0', rxA_crc, '0']
- [rxA_alinear, '0', rxA_comparar, '0']
- [rxA_alinear, '0', rxA_rx_bit_f, '0']
- [rxA_alinear, '0', rxA_rx_bytes, '0']
- [rxA_ber_ventana, '0', rxA_submuestreo, '0']
- [rxA_cfo_esperado, '0', rxA_g_frec, '1']
- [rxA_comparar, '0', rxA_errores, '0']
- [rxA_costas, '0', rxA_decisor, '0']
- [rxA_costas, '0', rxA_g_const, '1']
- [rxA_costas, '1', rxA_frec_hz, '0']
- [rxA_crc, '0', rxA_una_de_cien, '0']
- [rxA_dec_diferencial, '0', rxA_mapa_gray, '0']
- [rxA_decisor, '0', rxA_dec_diferencial, '0']
- [rxA_detector_trama, '0', rxA_a_bytes, '0']
- [rxA_detector_trama, '0', rxA_payload_f, '0']
- [rxA_entrada, '0', rxA_filtro_adaptado, '0']
- [rxA_errores, '0', rxA_ber_ventana, '0']
- [rxA_errores, '0', rxA_g_bits, '2']
- [rxA_filtro_adaptado, '0', rxA_ojo_interp, '0']
- [rxA_filtro_adaptado, '0', rxA_sinc_simbolo, '0']
- [rxA_frec_hz, '0', rxA_g_frec, '0']
- [rxA_log_ber, '0', rxA_g_ber, '0']
- [rxA_log_teo, '0', rxA_g_ber, '1']
- [rxA_mapa_gray, '0', rxA_a_bits, '0']
- [rxA_marca_preambulo, '0', rxA_alinear, '0']
- [rxA_medidor_ber, '0', rxA_sonda_ber, '0']
- [rxA_ojo_interp, '0', rxA_ojo_re, '0']
- [rxA_ojo_re, '0', rxA_g_ojo, '0']
- [rxA_payload_f, '0', rxA_g_payload, '0']
- [rxA_ref_a_paquetes, '0', rxA_ref_crc, '0']
- [rxA_ref_bit_f, '0', rxA_ref_desplazar, '0']
- [rxA_ref_bits, '0', rxA_ref_saltar_preambulo, '0']
- [rxA_ref_bytes, '0', rxA_medidor_ber, '1']
- [rxA_ref_crc, '0', rxA_ref_encabezado, '0']
- [rxA_ref_crc, '0', rxA_ref_trama, '1']
- [rxA_ref_desplazar, '0', rxA_g_bits, '1']
- [rxA_ref_encabezado, '0', rxA_ref_trama, '0']
- [rxA_ref_fuente, '0', rxA_ref_a_paquetes, '0']
- [rxA_ref_saltar_preambulo, '0', rxA_comparar, '1']
- [rxA_ref_saltar_preambulo, '0', rxA_ref_bit_f, '0']
- [rxA_ref_saltar_preambulo, '0', rxA_ref_bytes, '0']
- [rxA_ref_trama, '0', rxA_ref_bits, '0']
- [rxA_rx_bit_f, '0', rxA_g_bits, '0']
- [rxA_rx_bytes, '0', rxA_medidor_ber, '0']
- [rxA_sinc_simbolo, '0', rxA_costas, '0']
- [rxA_sinc_simbolo, '0', rxA_g_const, '0']
- [rxA_sinc_simbolo, '1', rxA_sinc_null_1, '0']
- [rxA_sinc_simbolo, '2', rxA_sinc_null_2, '0']
- [rxA_sinc_simbolo, '3', rxA_sinc_null_3, '0']
- [rxA_submuestreo, '0', rxA_log_ber, '0']
- [rxA_una_de_cien, '0', rxA_archivo, '0']
- [rxB_a_bits, '0', rxB_detector_trama, '0']
- [rxB_a_bits, '0', rxB_marca_preambulo, '0']
- [rxB_a_bytes, '0', rxB_crc, '0']
- [rxB_alinear, '0', rxB_comparar, '0']
- [rxB_alinear, '0', rxB_rx_bit_f, '0']
- [rxB_alinear, '0', rxB_rx_bytes, '0']
- [rxB_ber_ventana, '0', rxB_submuestreo, '0']
- [rxB_cfo_esperado, '0', rxB_g_frec, '1']
- [rxB_comparar, '0', rxB_errores, '0']
- [rxB_costas, '0', rxB_decisor, '0']
- [rxB_costas, '0', rxB_g_const, '1']
- [rxB_costas, '1', rxB_frec_hz, '0']
- [rxB_crc, '0', rxB_una_de_cien, '0']
- [rxB_dec_diferencial, '0', rxB_mapa_gray, '0']
- [rxB_decisor, '0', rxB_dec_diferencial, '0']
- [rxB_detector_trama, '0', rxB_a_bytes, '0']
- [rxB_detector_trama, '0', rxB_payload_f, '0']
- [rxB_entrada, '0', rxB_filtro_adaptado, '0']
- [rxB_errores, '0', rxB_ber_ventana, '0']
- [rxB_errores, '0', rxB_g_bits, '2']
- [rxB_filtro_adaptado, '0', rxB_ojo_interp, '0']
- [rxB_filtro_adaptado, '0', rxB_sinc_simbolo, '0']
- [rxB_frec_hz, '0', rxB_g_frec, '0']
- [rxB_log_ber, '0', rxB_g_ber, '0']
- [rxB_log_teo, '0', rxB_g_ber, '1']
- [rxB_mapa_gray, '0', rxB_a_bits, '0']
- [rxB_marca_preambulo, '0', rxB_alinear, '0']
- [rxB_medidor_ber, '0', rxB_sonda_ber, '0']
- [rxB_ojo_interp, '0', rxB_ojo_re, '0']
- [rxB_ojo_re, '0', rxB_g_ojo, '0']
- [rxB_payload_f, '0', rxB_g_payload, '0']
- [rxB_ref_a_paquetes, '0', rxB_ref_crc, '0']
- [rxB_ref_bit_f, '0', rxB_ref_desplazar, '0']
- [rxB_ref_bits, '0', rxB_ref_saltar_preambulo, '0']
- [rxB_ref_bytes, '0', rxB_medidor_ber, '1']
- [rxB_ref_crc, '0', rxB_ref_encabezado, '0']
- [rxB_ref_crc, '0', rxB_ref_trama, '1']
- [rxB_ref_desplazar, '0', rxB_g_bits, '1']
- [rxB_ref_encabezado, '0', rxB_ref_trama, '0']
- [rxB_ref_fuente, '0', rxB_ref_a_paquetes, '0']
- [rxB_ref_saltar_preambulo, '0', rxB_comparar, '1']
- [rxB_ref_saltar_preambulo, '0', rxB_ref_bit_f, '0']
- [rxB_ref_saltar_preambulo, '0', rxB_ref_bytes, '0']
- [rxB_ref_trama, '0', rxB_ref_bits, '0']
- [rxB_rx_bit_f, '0', rxB_g_bits, '0']
- [rxB_rx_bytes, '0', rxB_medidor_ber, '0']
- [rxB_sinc_simbolo, '0', rxB_costas, '0']
- [rxB_sinc_simbolo, '0', rxB_g_const, '0']
- [rxB_sinc_simbolo, '1', rxB_sinc_null_1, '0']
- [rxB_sinc_simbolo, '2', rxB_sinc_null_2, '0']
- [rxB_sinc_simbolo, '3', rxB_sinc_null_3, '0']
- [rxB_submuestreo, '0', rxB_log_ber, '0']
- [rxB_una_de_cien, '0', rxB_archivo, '0']
- [silencio_1, '0', turnos, '1']
- [silencio_3, '0', turnos, '3']
- [suma_ruido, '0', conmutador_rx, '0']
- [suma_ruido, '0', g_canal_const, '0']
- [suma_ruido, '0', g_canal_esp, '0']
- [turno_A, '0', g_turnos, '0']
- [turno_B, '0', g_turnos, '1']
- [turnos, '0', acelerador, '0']
- [txA_a_paquetes, '0', txA_crc, '0']
- [txA_crc, '0', txA_encabezado, '0']
- [txA_crc, '0', txA_trama, '1']
- [txA_encabezado, '0', txA_trama, '0']
- [txA_fuente, '0', txA_a_paquetes, '0']
- [txA_modulador, '0', txA_vs, '0']
- [txA_trama, '0', txA_modulador, '0']
- [txB_a_paquetes, '0', txB_crc, '0']
- [txB_crc, '0', txB_encabezado, '0']
- [txB_crc, '0', txB_trama, '1']
- [txB_encabezado, '0', txB_trama, '0']
- [txB_fuente, '0', txB_a_paquetes, '0']
- [txB_modulador, '0', txB_vs, '0']
- [txB_trama, '0', txB_modulador, '0']

metadata:
  file_format: 1
  grc_version: 3.10.12.0
